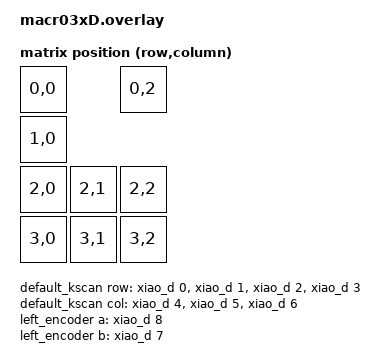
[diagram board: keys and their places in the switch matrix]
#include <dt-bindings/zmk/matrix_transform.h> // Put this with the other includes at the top of your
#include <physical_layouts.dtsi>
#include <input/processors.dtsi>
#include <zephyr/dt-bindings/input/input-event-codes.h>

/ {  
    default_kscan: kscan {
        compatible = "zmk,kscan-gpio-matrix";
        label = "default_kscan";
        diode-direction = "col2row";

        row-gpios = <&xiao_d 0 (GPIO_ACTIVE_HIGH | GPIO_PULL_DOWN)>,
                    <&xiao_d 1 (GPIO_ACTIVE_HIGH | GPIO_PULL_DOWN)>,
                    <&xiao_d 2 (GPIO_ACTIVE_HIGH | GPIO_PULL_DOWN)>,
                    <&xiao_d 3 (GPIO_ACTIVE_HIGH | GPIO_PULL_DOWN)>;

        col-gpios = <&xiao_d 4 GPIO_ACTIVE_HIGH>,
                    <&xiao_d 5 GPIO_ACTIVE_HIGH>,
                    <&xiao_d 6 GPIO_ACTIVE_HIGH>;
    };
    
    default_transform: matrix_transform {
        compatible = "zmk,matrix-transform";
        rows = <4>;
        columns = <3>;

        map = <
            RC(0,0)         RC(0,2) 
            RC(1,0)         
            RC(2,0) RC(2,1) RC(2,2)
            RC(3,0) RC(3,1) RC(3,2) 
        >;
    };
    
    physical_layout0: physical_layout_0 { 
        compatible = "zmk,physical-layout";
        display-name = "macr03xD";
        kscan = <&default_kscan>; // Label of the kscan node, optional if all layouts use the same
        transform = <&default_transform>; // Label of the matrix transform for this layout
    };
    
    chosen {
        zmk,physical-layout = &physical_layout0;
        // Other chosen items
    };
      
    left_encoder: encoder_left {
    	compatible = "alps,ec11";
    	a-gpios = <&xiao_d 8 (GPIO_ACTIVE_HIGH | GPIO_PULL_UP)>;
    	b-gpios = <&xiao_d 7 (GPIO_ACTIVE_HIGH | GPIO_PULL_UP)>;
    	steps = <20>;
    	status = "okay";
    };
    
    sensors: sensors {
    	compatible = "zmk,keymap-sensors";
    	sensors = <&left_encoder>;
    	triggers-per-rotation = <20>;
    };
    
};


